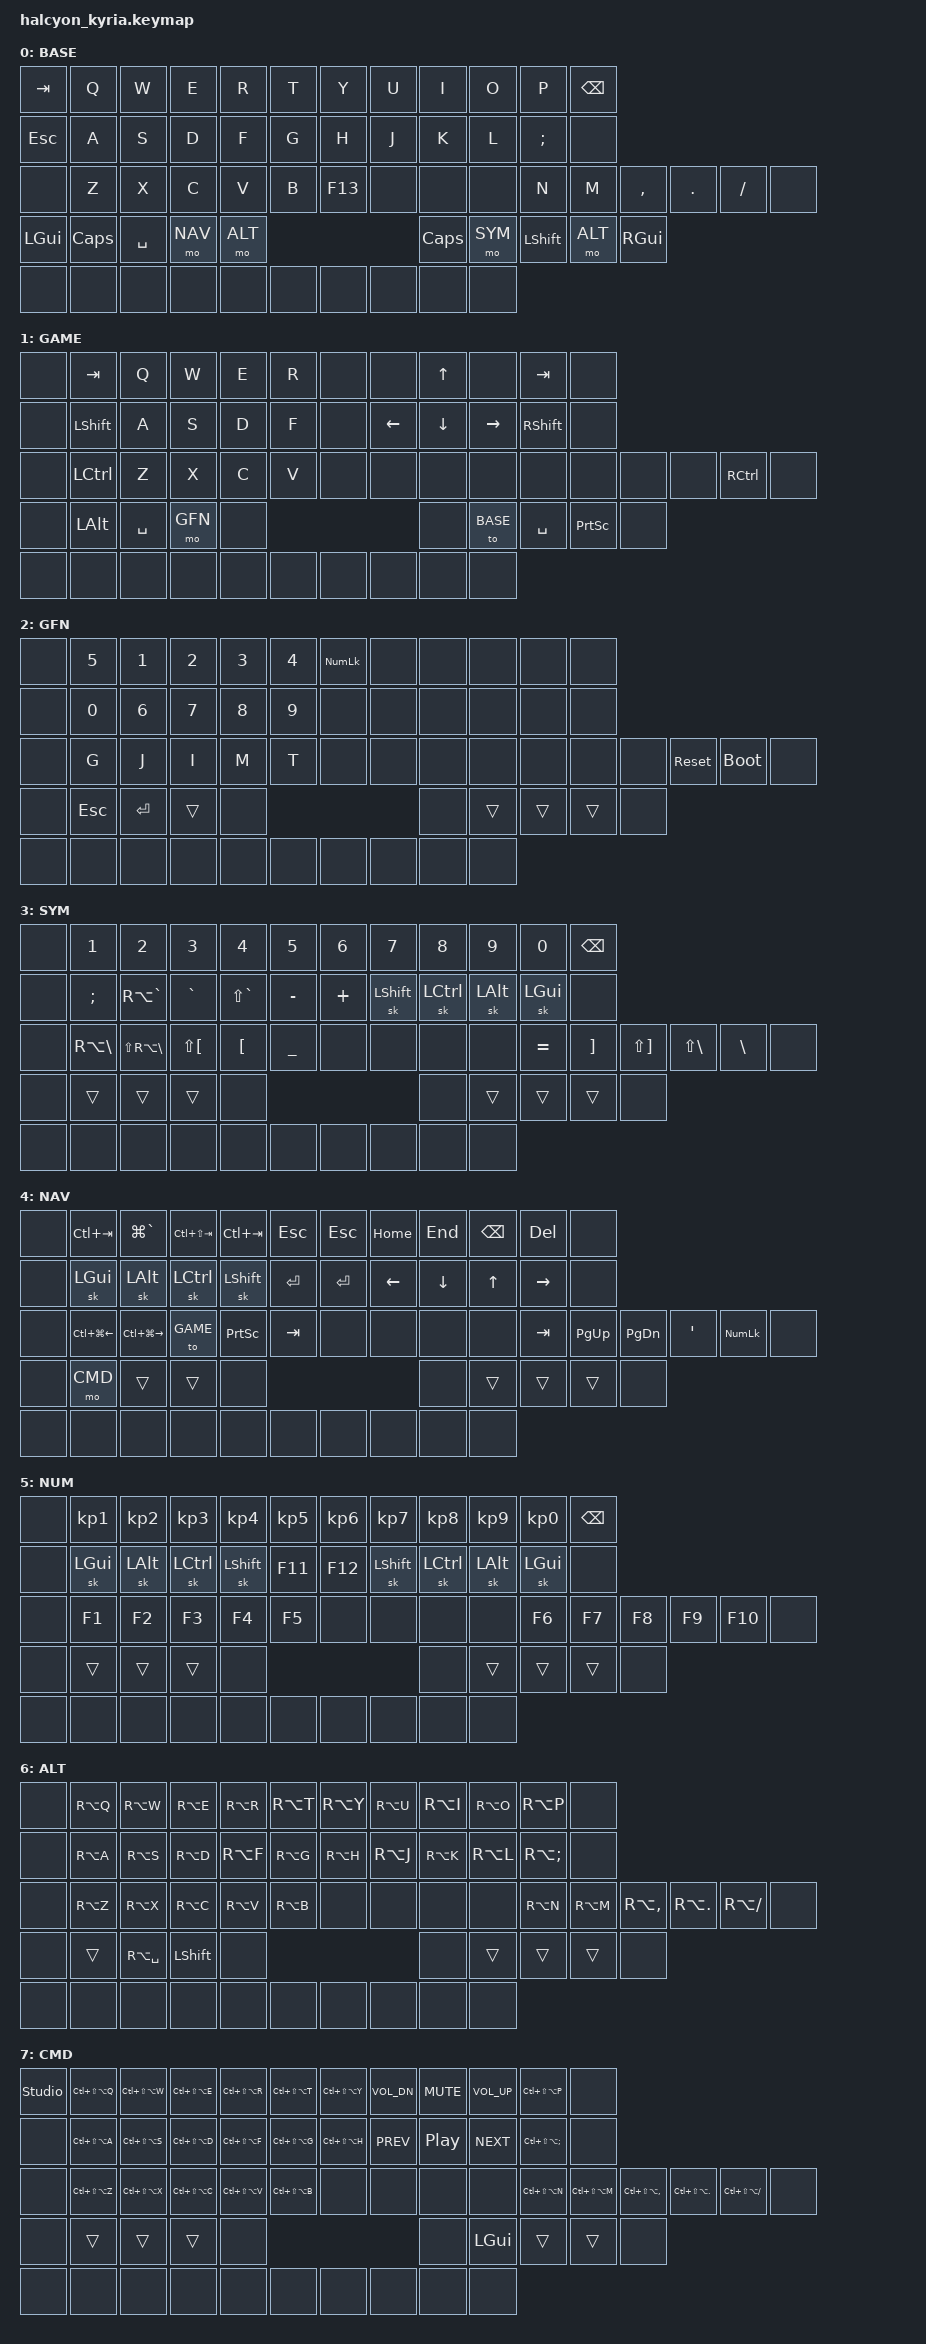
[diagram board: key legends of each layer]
#include <behaviors.dtsi>
#include <dt-bindings/zmk/keys.h>

#define BASE 0
#define GAME 1
#define GFN 2
#define SYM 3
#define NAV 4
#define NUM 5
#define ALT 6
#define CMD 7

/* Match the original timer-free one-shot modifiers as closely as ZMK allows. */
&sk {
    release-after-ms = <60000>;
    lazy;
    quick-release;
};

/ {
    conditional_layers {
        compatible = "zmk,conditional-layers";
        num_layer {
            if-layers = <SYM NAV>;
            then-layer = <NUM>;
        };
    };

    keymap {
        compatible = "zmk,keymap";

        base_layer {
            display-name = "BASE";
            bindings = <
                &kp TAB  &kp Q  &kp W  &kp E  &kp R  &kp T  &kp Y  &kp U  &kp I  &kp O  &kp P  &kp BSPC
                &kp ESC  &kp A  &kp S  &kp D  &kp F  &kp G  &kp H  &kp J  &kp K  &kp L  &kp SEMI  &none
                &none  &kp Z  &kp X  &kp C  &kp V  &kp B  &kp F13  &none  &none  &none  &kp N  &kp M  &kp COMMA  &kp DOT  &kp FSLH  &none
                &kp LGUI  &kp CAPS  &kp SPACE  &mo NAV  &mo ALT  &kp CAPS  &mo SYM  &kp LSHFT  &mo ALT  &kp RGUI
                &none  &none  &none  &none  &none  &none  &none  &none  &none  &none
            >;
        };

        game_layer {
            display-name = "GAME";
            bindings = <
                &none  &kp TAB  &kp Q  &kp W  &kp E  &kp R  &none  &none  &kp UP  &none  &kp TAB  &none
                &none  &kp LSHFT  &kp A  &kp S  &kp D  &kp F  &none  &kp LEFT  &kp DOWN  &kp RIGHT  &kp RSHFT  &none
                &none  &kp LCTRL  &kp Z  &kp X  &kp C  &kp V  &none  &none  &none  &none  &none  &none  &none  &none  &kp RCTRL  &none
                &none  &kp LALT  &kp SPACE  &mo GFN  &none  &none  &to BASE  &kp SPACE  &kp PSCRN  &none
                &none  &none  &none  &none  &none  &none  &none  &none  &none  &none
            >;
        };

        gfn_layer {
            display-name = "GFN";
            bindings = <
                &none  &kp N5  &kp N1  &kp N2  &kp N3  &kp N4  &kp KP_NUM  &none  &none  &none  &none  &none
                &none  &kp N0  &kp N6  &kp N7  &kp N8  &kp N9  &none  &none  &none  &none  &none  &none
                &none  &kp G  &kp J  &kp I  &kp M  &kp T  &none  &none  &none  &none  &none  &none  &none  &sys_reset  &bootloader  &none
                &none  &kp ESC  &kp RET  &trans  &none  &none  &trans  &trans  &trans  &none
                &none  &none  &none  &none  &none  &none  &none  &none  &none  &none
            >;
        };

        sym_layer {
            display-name = "SYM";
            bindings = <
                &none  &kp N1  &kp N2  &kp N3  &kp N4  &kp N5  &kp N6  &kp N7  &kp N8  &kp N9  &kp N0  &kp BSPC
                &none  &kp SEMI  &kp RA(GRAVE)  &kp GRAVE  &kp LS(GRAVE)  &kp MINUS  &kp PLUS  &sk LSHFT  &sk LCTRL  &sk LALT  &sk LGUI  &none
                &none  &kp RA(BSLH)  &kp LS(RA(BSLH))  &kp LS(LBKT)  &kp LBKT  &kp UNDER  &none  &none  &none  &none  &kp EQUAL  &kp RBKT  &kp LS(RBKT)  &kp LS(BSLH)  &kp BSLH  &none
                &none  &trans  &trans  &trans  &none  &none  &trans  &trans  &trans  &none
                &none  &none  &none  &none  &none  &none  &none  &none  &none  &none
            >;
        };

        nav_layer {
            display-name = "NAV";
            bindings = <
                &none  &kp LC(TAB)  &kp LG(GRAVE)  &kp LC(LS(TAB))  &kp LC(TAB)  &kp ESC  &kp ESC  &kp HOME  &kp END  &kp BSPC  &kp DEL  &none
                &none  &sk LGUI  &sk LALT  &sk LCTRL  &sk LSHFT  &kp RET  &kp RET  &kp LEFT  &kp DOWN  &kp UP  &kp RIGHT  &none
                &none  &kp LC(LG(LEFT))  &kp LC(LG(RIGHT))  &to GAME  &kp PSCRN  &kp TAB  &none  &none  &none  &none  &kp TAB  &kp PG_UP  &kp PG_DN  &kp SQT  &kp KP_NUM  &none
                &none  &mo CMD  &trans  &trans  &none  &none  &trans  &trans  &trans  &none
                &none  &none  &none  &none  &none  &none  &none  &none  &none  &none
            >;
        };

        num_layer {
            display-name = "NUM";
            bindings = <
                &none  &kp KP_N1  &kp KP_N2  &kp KP_N3  &kp KP_N4  &kp KP_N5  &kp KP_N6  &kp KP_N7  &kp KP_N8  &kp KP_N9  &kp KP_N0  &kp BSPC
                &none  &sk LGUI  &sk LALT  &sk LCTRL  &sk LSHFT  &kp F11  &kp F12  &sk LSHFT  &sk LCTRL  &sk LALT  &sk LGUI  &none
                &none  &kp F1  &kp F2  &kp F3  &kp F4  &kp F5  &none  &none  &none  &none  &kp F6  &kp F7  &kp F8  &kp F9  &kp F10  &none
                &none  &trans  &trans  &trans  &none  &none  &trans  &trans  &trans  &none
                &none  &none  &none  &none  &none  &none  &none  &none  &none  &none
            >;
        };

        alt_layer {
            display-name = "ALT";
            bindings = <
                &none  &kp RA(Q)  &kp RA(W)  &kp RA(E)  &kp RA(R)  &kp RA(T)  &kp RA(Y)  &kp RA(U)  &kp RA(I)  &kp RA(O)  &kp RA(P)  &none
                &none  &kp RA(A)  &kp RA(S)  &kp RA(D)  &kp RA(F)  &kp RA(G)  &kp RA(H)  &kp RA(J)  &kp RA(K)  &kp RA(L)  &kp RA(SEMI)  &none
                &none  &kp RA(Z)  &kp RA(X)  &kp RA(C)  &kp RA(V)  &kp RA(B)  &none  &none  &none  &none  &kp RA(N)  &kp RA(M)  &kp RA(COMMA)  &kp RA(DOT)  &kp RA(FSLH)  &none
                &none  &trans  &kp RA(SPACE)  &kp LSHFT  &none  &none  &trans  &trans  &trans  &none
                &none  &none  &none  &none  &none  &none  &none  &none  &none  &none
            >;
        };

        cmd_layer {
            display-name = "CMD";
            bindings = <
                &studio_unlock  &kp LC(LS(LA(Q)))  &kp LC(LS(LA(W)))  &kp LC(LS(LA(E)))  &kp LC(LS(LA(R)))  &kp LC(LS(LA(T)))  &kp LC(LS(LA(Y)))  &kp C_VOL_DN  &kp C_MUTE  &kp C_VOL_UP  &kp LC(LS(LA(P)))  &none
                &none  &kp LC(LS(LA(A)))  &kp LC(LS(LA(S)))  &kp LC(LS(LA(D)))  &kp LC(LS(LA(F)))  &kp LC(LS(LA(G)))  &kp LC(LS(LA(H)))  &kp C_PREV  &kp C_PLAY_PAUSE  &kp C_NEXT  &kp LC(LS(LA(SEMI)))  &none
                &none  &kp LC(LS(LA(Z)))  &kp LC(LS(LA(X)))  &kp LC(LS(LA(C)))  &kp LC(LS(LA(V)))  &kp LC(LS(LA(B)))  &none  &none  &none  &none  &kp LC(LS(LA(N)))  &kp LC(LS(LA(M)))  &kp LC(LS(LA(COMMA)))  &kp LC(LS(LA(DOT)))  &kp LC(LS(LA(FSLH)))  &none
                &none  &trans  &trans  &trans  &none  &none  &kp LGUI  &trans  &trans  &none
                &none  &none  &none  &none  &none  &none  &none  &none  &none  &none
            >;
        };

    };
};
